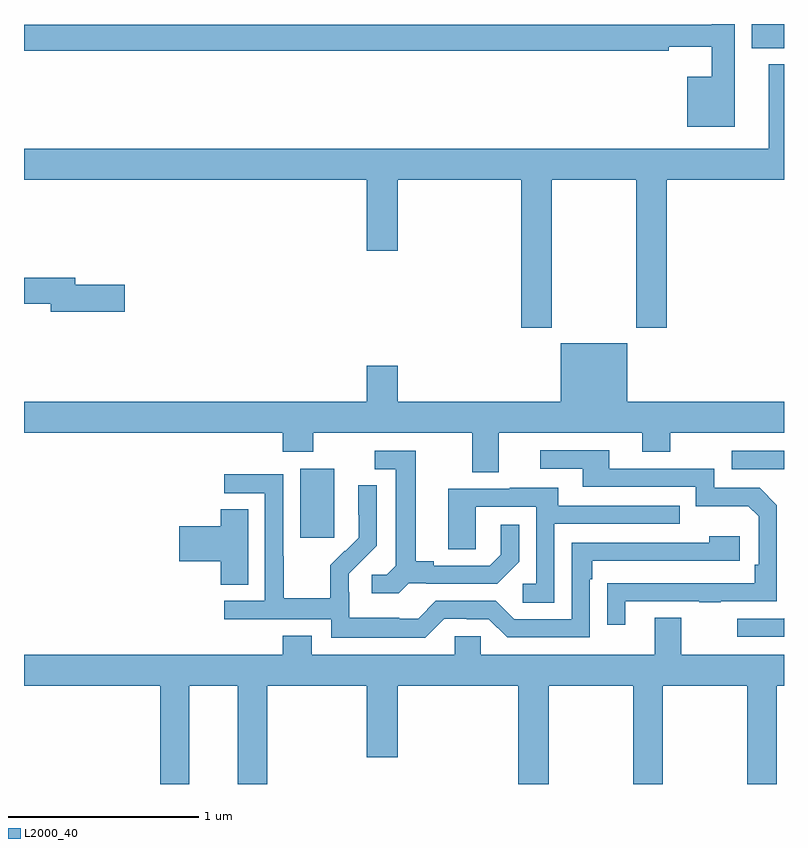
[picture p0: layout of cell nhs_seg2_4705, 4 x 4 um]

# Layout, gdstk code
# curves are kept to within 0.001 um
import gdstk
lib = gdstk.Library(unit=1e-6, precision=1e-09)
def R(c, l, rs):  # rectangles x0, y0, x1, y1
    for r in rs: c.add(gdstk.rectangle(r[:2], r[2:], *l))
def P(c, l, *ps):  # polygons
    for p in ps: c.add(gdstk.Polygon(p, *l))
L2000_40 = (2000, 40)

nhs_seg2_4705 = lib.new_cell('nhs_seg2_4705')
R(nhs_seg2_4705, L2000_40, [(368.453,635.097,368.632,635.458), (370.725,635.457,371,635.553), (370.829,637.673,371,637.8)])
P(nhs_seg2_4705, L2000_40, [(370.741,637.8),(370.62,637.8),(370.62,637.796),(367,637.796),(367,637.66),(370.394,637.66),(370.394,637.679),(370.62,637.679),(370.62,637.522),(370.49,637.522),(370.49,637.259),(370.741,637.259)],
  [(369.777,636.98),(370.222,636.98),(370.222,636.201),(370.382,636.201),(370.382,636.98),(371,636.98),(371,637.588),(370.919,637.588),(370.919,637.144),(367,637.144),(367,636.98),(368.804,636.98),(368.804,636.606),(368.968,636.606),(368.968,636.98),(369.617,636.98),(369.617,636.201),(369.777,636.201)],
  [(367.531,636.428),(367.27,636.428),(367.27,636.464),(367,636.464),(367,636.328),(367.142,636.328),(367.142,636.286),(367.531,636.286)],
  [(369.499,635.648),(370.253,635.648),(370.253,635.549),(370.401,635.549),(370.401,635.648),(371,635.648),(371,635.812),(370.174,635.812),(370.174,636.121),(369.824,636.121),(369.824,635.812),(368.968,635.812),(368.968,636.001),(368.804,636.001),(368.804,635.812),(367,635.812),(367,635.648),(368.363,635.648),(368.363,635.549),(368.523,635.549),(368.523,635.648),(369.359,635.648),(369.359,635.44),(369.499,635.44)],
  [(370.165,634.761),(370.555,634.761),(370.555,634.756),(370.667,634.756),(370.667,634.761),(370.962,634.761),(370.962,635.268),(370.872,635.358),(370.632,635.358),(370.632,635.46),(370.081,635.46),(370.081,635.556),(369.717,635.556),(369.717,635.46),(369.941,635.46),(369.941,635.364),(370.536,635.364),(370.536,635.261),(370.813,635.261),(370.866,635.208),(370.866,634.954),(370.846,634.954),(370.846,634.857),(370.069,634.856),(370.069,634.638),(370.165,634.638)],
  [(369.024,634.857),(369.118,634.857),(369.118,634.854),(369.49,634.854),(369.606,634.97),(369.606,635.164),(369.509,635.164),(369.509,635.007),(369.452,634.95),(369.157,634.95),(369.157,634.973),(369.061,634.973),(369.061,635.553),(368.847,635.553),(368.847,635.457),(368.957,635.457),(368.957,634.949),(368.91,634.902),(368.829,634.902),(368.829,634.805),(368.972,634.805)],
  [(369.213,634.671),(369.329,634.671),(369.329,634.668),(369.447,634.668),(369.543,634.572),(369.978,634.572),(369.978,634.877),(369.991,634.877),(369.991,634.974),(370.768,634.974),(370.768,635.104),(370.607,635.104),(370.607,635.07),(369.882,635.07),(369.882,634.668),(369.579,634.668),(369.483,634.764),(369.168,634.764),(369.075,634.671),(368.975,634.671),(368.975,634.675),(368.712,634.675),(368.712,634.809),(368.71,634.809),(368.71,634.906),(368.856,635.054),(368.856,635.372),(368.76,635.372),(368.76,635.218),(368.762,635.218),(368.762,635.096),(368.691,635.025),(368.688,635.028),(368.611,634.951),(368.611,634.777),(368.367,634.777),(368.367,635),(368.364,635),(368.364,635.43),(368.055,635.43),(368.055,635.331),(368.268,635.331),(368.268,634.764),(368.055,634.764),(368.055,634.668),(368.616,634.668),(368.616,634.571),(369.113,634.571)],
  [(369.792,635.169),(370.451,635.169),(370.451,635.265),(369.811,635.265),(369.811,635.359),(369.557,635.359),(369.557,635.355),(369.233,635.355),(369.233,635.035),(369.378,635.035),(369.378,635.259),(369.696,635.259),(369.696,634.854),(369.624,634.854),(369.624,634.753),(369.792,634.753)],
  [(368.179,635.246),(368.036,635.246),(368.036,635.156),(367.818,635.156),(367.818,634.973),(368.036,634.973),(368.036,634.849),(368.179,634.849)],
  [(367.87,634.316),(368.126,634.316),(368.126,633.8),(368.279,633.8),(368.279,634.316),(368.804,634.316),(368.804,633.942),(368.968,633.942),(368.968,634.316),(369.602,634.316),(369.602,633.8),(369.762,633.8),(369.762,634.316),(370.207,634.316),(370.207,633.8),(370.362,633.8),(370.362,634.316),(370.807,634.316),(370.807,633.8),(370.962,633.8),(370.962,634.316),(371,634.316),(371,634.48),(370.459,634.48),(370.459,634.675),(370.319,634.675),(370.319,634.48),(369.405,634.48),(369.405,634.578),(369.267,634.578),(369.267,634.48),(368.515,634.48),(368.515,634.579),(368.363,634.579),(368.363,634.48),(367,634.48),(367,634.316),(367.718,634.316),(367.718,633.8),(367.87,633.8)],
  [(371,634.673),(370.998,634.671),(370.755,634.671),(370.755,634.575),(371,634.575)])

lib.write_gds('nhs_seg2_4705.gds')
